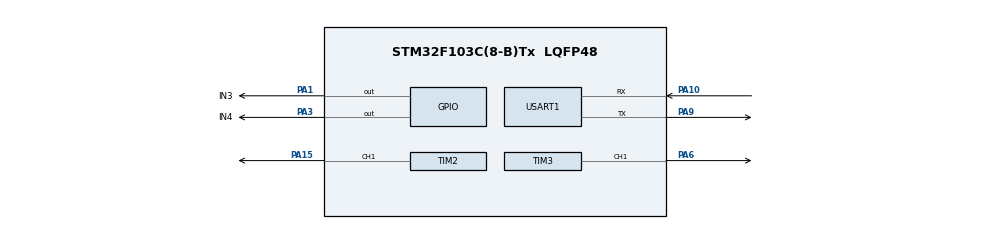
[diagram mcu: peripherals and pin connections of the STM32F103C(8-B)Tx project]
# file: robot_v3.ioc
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Dma.Request0=USART1_RX
Dma.USART1_RX.0.Direction=DMA_PERIPH_TO_MEMORY
Dma.USART1_RX.0.Instance=DMA1_Channel5
Dma.USART1_RX.0.MemDataAlignment=DMA_MDATAALIGN_BYTE
Dma.USART1_RX.0.MemInc=DMA_MINC_ENABLE
Dma.USART1_RX.0.Mode=DMA_NORMAL
Dma.USART1_RX.0.PeriphDataAlignment=DMA_PDATAALIGN_BYTE
Dma.USART1_RX.0.PeriphInc=DMA_PINC_DISABLE
Dma.USART1_RX.0.Priority=DMA_PRIORITY_HIGH
Mcu.Family=STM32F1
Mcu.Name=STM32F103C(8-B)Tx
Mcu.Package=LQFP48
NVIC.DMA1_Channel5_IRQn=true\:0\:0\:false\:false\:true\:false\:true\:true
NVIC.PriorityGroup=NVIC_PRIORITYGROUP_4
NVIC.TIM2_IRQn=true\:0\:0\:false\:false\:true\:true\:true\:true
NVIC.TIM3_IRQn=true\:0\:0\:false\:false\:true\:true\:true\:true
NVIC.USART1_IRQn=true\:0\:0\:false\:false\:true\:true\:true\:true
PA1.GPIO_Label=IN3
PA1.Signal=GPIO_Output
PA10.Mode=Asynchronous
PA10.Signal=USART1_RX
PA13.Mode=Serial_Wire
PA13.Signal=SYS_JTMS-SWDIO
PA14.Mode=Serial_Wire
PA14.Signal=SYS_JTCK-SWCLK
PA15.Signal=S_TIM2_CH1_ETR
PA3.GPIO_Label=IN4
PA3.Signal=GPIO_Output
PA6.Signal=S_TIM3_CH1
PA9.Mode=Asynchronous
PA9.Signal=USART1_TX
PC14-OSC32_IN.Mode=LSE-External-Oscillator
PC14-OSC32_IN.Signal=RCC_OSC32_IN
PC15-OSC32_OUT.Mode=LSE-External-Oscillator
PC15-OSC32_OUT.Signal=RCC_OSC32_OUT
PD0-OSC_IN.Mode=HSE-External-Oscillator
PD0-OSC_IN.Signal=RCC_OSC_IN
PD1-OSC_OUT.Mode=HSE-External-Oscillator
PD1-OSC_OUT.Signal=RCC_OSC_OUT
ProjectManager.HeapSize=0x200
ProjectManager.StackSize=0x400
ProjectManager.TargetToolchain=STM32CubeIDE
RCC.APB1Freq_Value=8000000
RCC.APB2Freq_Value=8000000
SH.S_TIM2_CH1_ETR.0=TIM2_CH1,PWM Generation1 CH1
SH.S_TIM3_CH1.0=TIM3_CH1,PWM Generation1 CH1
TIM2.Channel-PWM\ Generation1\ CH1=TIM_CHANNEL_1
TIM2.Period=1999
TIM2.Prescaler=79
TIM2.Pulse-PWM\ Generation1\ CH1=183
TIM3.Channel-PWM\ Generation1\ CH1=TIM_CHANNEL_1
TIM3.Period=99
TIM3.Prescaler=79
TIM3.Pulse-PWM\ Generation1\ CH1=35
USART1.VirtualMode=VM_ASYNC
VP_TIM2_VS_ClockSourceINT.Mode=Internal
VP_TIM3_VS_ClockSourceINT.Mode=Internal
board=custom

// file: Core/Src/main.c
/* USER CODE BEGIN Header */
/**
  ******************************************************************************
  * @file           : main.c
  * @brief          : Main program body
  ******************************************************************************
  * @attention
  *
  * Copyright (c) 2024 STMicroelectronics.
  * All rights reserved.
  *
  * This software is licensed under terms that can be found in the LICENSE file
  * in the root directory of this software component.
  * If no LICENSE file comes with this software, it is provided AS-IS.
  *
  ******************************************************************************
  */
/* USER CODE END Header */
#include "main.h"

/* USER CODE BEGIN Includes */
#include <stdio.h>
#include <stdlib.h>
#include <string.h>
/* USER CODE END Includes */

/* USER CODE BEGIN PM */
#define BUFFER_SIZE 30
/* USER CODE END PM */

TIM_HandleTypeDef htim2;
TIM_HandleTypeDef htim3;

UART_HandleTypeDef huart1;
DMA_HandleTypeDef hdma_usart1_rx;

void SystemClock_Config(void);
static void MX_GPIO_Init(void);
static void MX_DMA_Init(void);
static void MX_TIM2_Init(void);
static void MX_TIM3_Init(void);
static void MX_USART1_UART_Init(void);

/* USER CODE BEGIN 0 */
uint8_t rx_buff[1];
char received_string[BUFFER_SIZE];

void motor_start();
void motor_stop();
void motor_speed(uint32_t duty_cycle);
void steering(int angle);
void process_command(const char* command_string);
/* USER CODE END 0 */

int main(void)
{

  /* MCU Configuration--------------------------------------------------------*/

  /* Reset of all peripherals, Initializes the Flash interface and the Systick. */
  HAL_Init();

  /* Configure the system clock */
  SystemClock_Config();

  /* Initialize all configured peripherals */
  MX_GPIO_Init();
  MX_DMA_Init();
  MX_TIM2_Init();
  MX_TIM3_Init();
  MX_USART1_UART_Init();
  /* USER CODE BEGIN 2 */
  HAL_UART_Receive_DMA(&huart1, rx_buff, BUFFER_SIZE);
  HAL_TIM_PWM_Start(&htim2, TIM_CHANNEL_1);
  HAL_TIM_PWM_Start(&htim3, TIM_CHANNEL_1);
  /* USER CODE END 2 */

  /* Infinite loop */
  while (1)
  {

    /* USER CODE BEGIN 3 */
	//steering(0);
	motor_speed(80);
	motor_start();
	steering(-90);
	//motor_stop();
  }
  /* USER CODE END 3 */
}

void SystemClock_Config(void)
{
  RCC_OscInitTypeDef RCC_OscInitStruct = {0};
  RCC_ClkInitTypeDef RCC_ClkInitStruct = {0};

  /** Initializes the RCC Oscillators according to the specified parameters
  * in the RCC_OscInitTypeDef structure.
  */
  RCC_OscInitStruct.OscillatorType = RCC_OSCILLATORTYPE_HSI;
  RCC_OscInitStruct.HSIState = RCC_HSI_ON;
  RCC_OscInitStruct.HSICalibrationValue = RCC_HSICALIBRATION_DEFAULT;
  RCC_OscInitStruct.PLL.PLLState = RCC_PLL_NONE;
  if (HAL_RCC_OscConfig(&RCC_OscInitStruct) != HAL_OK)
  {
    Error_Handler();
  }

  /** Initializes the CPU, AHB and APB buses clocks
  */
  RCC_ClkInitStruct.ClockType = RCC_CLOCKTYPE_HCLK|RCC_CLOCKTYPE_SYSCLK
                              |RCC_CLOCKTYPE_PCLK1|RCC_CLOCKTYPE_PCLK2;
  RCC_ClkInitStruct.SYSCLKSource = RCC_SYSCLKSOURCE_HSI;
  RCC_ClkInitStruct.AHBCLKDivider = RCC_SYSCLK_DIV1;
  RCC_ClkInitStruct.APB1CLKDivider = RCC_HCLK_DIV1;
  RCC_ClkInitStruct.APB2CLKDivider = RCC_HCLK_DIV1;

  if (HAL_RCC_ClockConfig(&RCC_ClkInitStruct, FLASH_LATENCY_0) != HAL_OK)
  {
    Error_Handler();
  }
}

static void MX_TIM2_Init(void)
{

  TIM_ClockConfigTypeDef sClockSourceConfig = {0};
  TIM_MasterConfigTypeDef sMasterConfig = {0};
  TIM_OC_InitTypeDef sConfigOC = {0};

  htim2.Instance = TIM2;
  htim2.Init.Prescaler = 79;
  htim2.Init.CounterMode = TIM_COUNTERMODE_UP;
  htim2.Init.Period = 1999;
  htim2.Init.ClockDivision = TIM_CLOCKDIVISION_DIV1;
  htim2.Init.AutoReloadPreload = TIM_AUTORELOAD_PRELOAD_DISABLE;
  if (HAL_TIM_Base_Init(&htim2) != HAL_OK)
  {
    Error_Handler();
  }
  sClockSourceConfig.ClockSource = TIM_CLOCKSOURCE_INTERNAL;
  if (HAL_TIM_ConfigClockSource(&htim2, &sClockSourceConfig) != HAL_OK)
  {
    Error_Handler();
  }
  if (HAL_TIM_PWM_Init(&htim2) != HAL_OK)
  {
    Error_Handler();
  }
  sMasterConfig.MasterOutputTrigger = TIM_TRGO_RESET;
  sMasterConfig.MasterSlaveMode = TIM_MASTERSLAVEMODE_DISABLE;
  if (HAL_TIMEx_MasterConfigSynchronization(&htim2, &sMasterConfig) != HAL_OK)
  {
    Error_Handler();
  }
  sConfigOC.OCMode = TIM_OCMODE_PWM1;
  sConfigOC.Pulse = 183;
  sConfigOC.OCPolarity = TIM_OCPOLARITY_HIGH;
  sConfigOC.OCFastMode = TIM_OCFAST_DISABLE;
  if (HAL_TIM_PWM_ConfigChannel(&htim2, &sConfigOC, TIM_CHANNEL_1) != HAL_OK)
  {
    Error_Handler();
  }
  HAL_TIM_MspPostInit(&htim2);

}

static void MX_TIM3_Init(void)
{

  TIM_ClockConfigTypeDef sClockSourceConfig = {0};
  TIM_MasterConfigTypeDef sMasterConfig = {0};
  TIM_OC_InitTypeDef sConfigOC = {0};

  htim3.Instance = TIM3;
  htim3.Init.Prescaler = 79;
  htim3.Init.CounterMode = TIM_COUNTERMODE_UP;
  htim3.Init.Period = 99;
  htim3.Init.ClockDivision = TIM_CLOCKDIVISION_DIV1;
  htim3.Init.AutoReloadPreload = TIM_AUTORELOAD_PRELOAD_DISABLE;
  if (HAL_TIM_Base_Init(&htim3) != HAL_OK)
  {
    Error_Handler();
  }
  sClockSourceConfig.ClockSource = TIM_CLOCKSOURCE_INTERNAL;
  if (HAL_TIM_ConfigClockSource(&htim3, &sClockSourceConfig) != HAL_OK)
  {
    Error_Handler();
  }
  if (HAL_TIM_PWM_Init(&htim3) != HAL_OK)
  {
    Error_Handler();
  }
  sMasterConfig.MasterOutputTrigger = TIM_TRGO_RESET;
  sMasterConfig.MasterSlaveMode = TIM_MASTERSLAVEMODE_DISABLE;
  if (HAL_TIMEx_MasterConfigSynchronization(&htim3, &sMasterConfig) != HAL_OK)
  {
    Error_Handler();
  }
  sConfigOC.OCMode = TIM_OCMODE_PWM1;
  sConfigOC.Pulse = 35;
  sConfigOC.OCPolarity = TIM_OCPOLARITY_HIGH;
  sConfigOC.OCFastMode = TIM_OCFAST_DISABLE;
  if (HAL_TIM_PWM_ConfigChannel(&htim3, &sConfigOC, TIM_CHANNEL_1) != HAL_OK)
  {
    Error_Handler();
  }
  HAL_TIM_MspPostInit(&htim3);

}

static void MX_USART1_UART_Init(void)
{

  huart1.Instance = USART1;
  huart1.Init.BaudRate = 115200;
  huart1.Init.WordLength = UART_WORDLENGTH_8B;
  huart1.Init.StopBits = UART_STOPBITS_1;
  huart1.Init.Parity = UART_PARITY_NONE;
  huart1.Init.Mode = UART_MODE_TX_RX;
  huart1.Init.HwFlowCtl = UART_HWCONTROL_NONE;
  huart1.Init.OverSampling = UART_OVERSAMPLING_16;
  if (HAL_UART_Init(&huart1) != HAL_OK)
  {
    Error_Handler();
  }

}

static void MX_DMA_Init(void)
{

  /* DMA controller clock enable */
  __HAL_RCC_DMA1_CLK_ENABLE();

  /* DMA interrupt init */
  /* DMA1_Channel5_IRQn interrupt configuration */
  HAL_NVIC_SetPriority(DMA1_Channel5_IRQn, 0, 0);
  HAL_NVIC_EnableIRQ(DMA1_Channel5_IRQn);

}

static void MX_GPIO_Init(void)
{
  GPIO_InitTypeDef GPIO_InitStruct = {0};

  /* GPIO Ports Clock Enable */
  __HAL_RCC_GPIOC_CLK_ENABLE();
  __HAL_RCC_GPIOD_CLK_ENABLE();
  __HAL_RCC_GPIOA_CLK_ENABLE();

  /*Configure GPIO pin Output Level */
  HAL_GPIO_WritePin(GPIOA, IN3_Pin|IN4_Pin, GPIO_PIN_RESET);

  /*Configure GPIO pins : IN3_Pin IN4_Pin */
  GPIO_InitStruct.Pin = IN3_Pin|IN4_Pin;
  GPIO_InitStruct.Mode = GPIO_MODE_OUTPUT_PP;
  GPIO_InitStruct.Pull = GPIO_NOPULL;
  GPIO_InitStruct.Speed = GPIO_SPEED_FREQ_LOW;
  HAL_GPIO_Init(GPIOA, &GPIO_InitStruct);

}

/* USER CODE BEGIN 4 */
void HAL_UART_RxCpltCallback(UART_HandleTypeDef *huart)
{
	static uint16_t index = 0;

	if (huart->Instance == USART1) {
		char received_char = rx_buff[0]; // Read received character

		if (received_char == '\n' || received_char == '\0') { // End of string detected
			received_string[index] = '\0'; // Null-terminate the string
			index = 0; // Reset index for the next string

			// Process the received string
			process_command(received_string);
		} else if (index < BUFFER_SIZE - 1) { // Append character if space allows
			received_string[index++] = received_char;
		}
		// Restart UART DMA reception
		HAL_UART_Receive_DMA(&huart1, rx_buff, sizeof(rx_buff));
	}
}

void motor_start(){
	HAL_GPIO_WritePin(IN3_GPIO_Port, IN3_Pin, SET);
	HAL_GPIO_WritePin(IN4_GPIO_Port, IN4_Pin, RESET);
}

void motor_stop(){
	HAL_GPIO_WritePin(IN3_GPIO_Port, IN3_Pin, RESET);
	HAL_GPIO_WritePin(IN4_GPIO_Port, IN4_Pin, RESET);
}

void motor_speed(uint32_t duty_cycle){
	uint32_t ARR_value = TIM3->ARR;
	uint32_t CCR_value = (ARR_value*duty_cycle)/100;
	__HAL_TIM_SET_COMPARE(&htim3, TIM_CHANNEL_1, CCR_value);
}

void steering(int angle){
	if (angle < -90){
		angle = -90;
	}
	else if(angle > 60){
		angle = 60;
	}
	float duty_time = 1.0f + ((150.0f + angle) / 180.0f);  //pulse width in microseconds
	/*Servo rotation range is between 50 to 210 degrees.
	 *The car move straight at 150 degrees.
	 *So, we set the origin steering angle (0 degree) at 150 degrees of servo.
	 *Assuming the rotation direction is clockwise direction.
	 *If the angle parameter is > 0, it rotates servo to the right side.
	 *Else the angle parameter is < 0, it rotates servo to the left side.
	 */
	uint32_t CCR_value = (uint32_t)(duty_time * 100.0f);
	/*The formula is (duty_time/20) * 2000
	 * 2000 is ARR value for 50Hz pulse
	 */
	__HAL_TIM_SET_COMPARE(&htim2, TIM_CHANNEL_1, CCR_value);
}

void process_command(const char* command_string) {
    char *token;
    token = strtok((char *)command_string, "_");
    if (strcmp(token, "SERVO") == 0){
        token = strtok(NULL, "_");
        int angle = atoi(token);
        steering(angle);
    } else if (strcmp(token, "MOTOR") == 0){
        token = strtok(NULL, "_");
        if (strcmp(token, "START") == 0){
        	motor_start();
        }else if (strcmp(token, "STOP") == 0){
        	motor_stop();
        }else{
        	int speed = atoi(token);
        	motor_speed((uint32_t) speed);
        }
    }
}

/* USER CODE END 4 */

void Error_Handler(void)
{
  __disable_irq();
  while (1)
  {
  }
}
